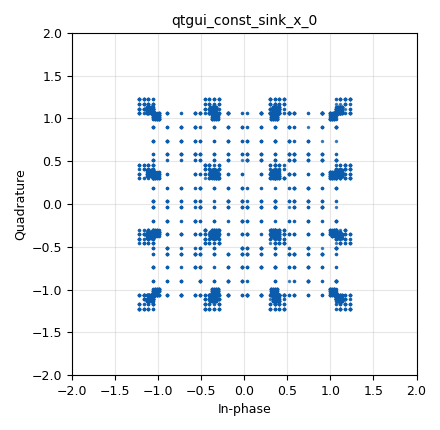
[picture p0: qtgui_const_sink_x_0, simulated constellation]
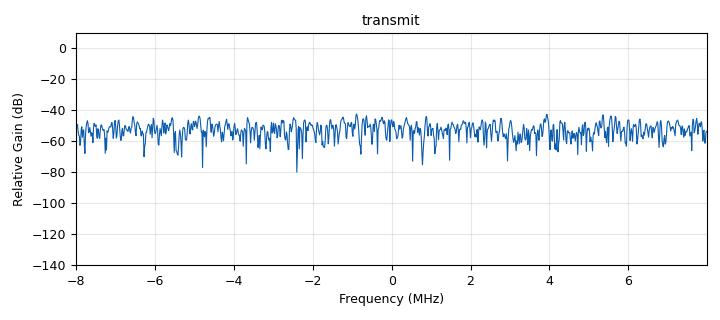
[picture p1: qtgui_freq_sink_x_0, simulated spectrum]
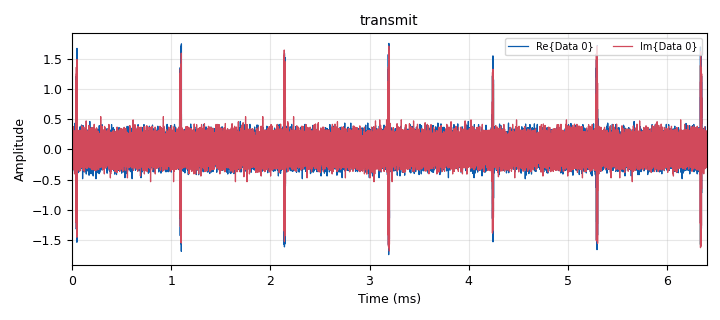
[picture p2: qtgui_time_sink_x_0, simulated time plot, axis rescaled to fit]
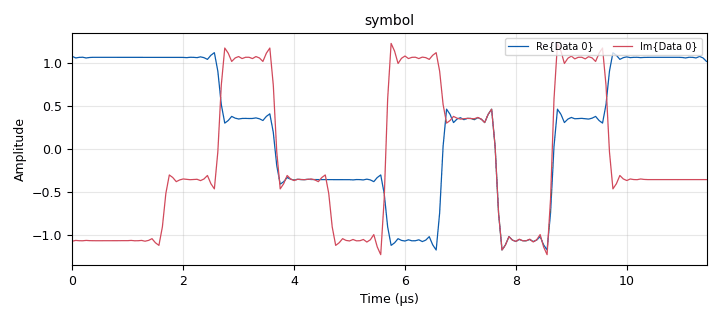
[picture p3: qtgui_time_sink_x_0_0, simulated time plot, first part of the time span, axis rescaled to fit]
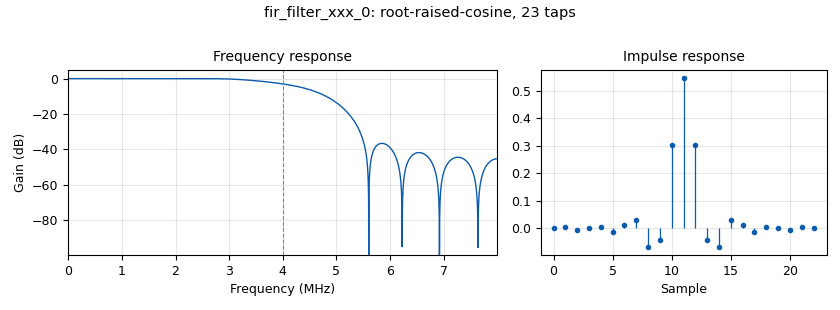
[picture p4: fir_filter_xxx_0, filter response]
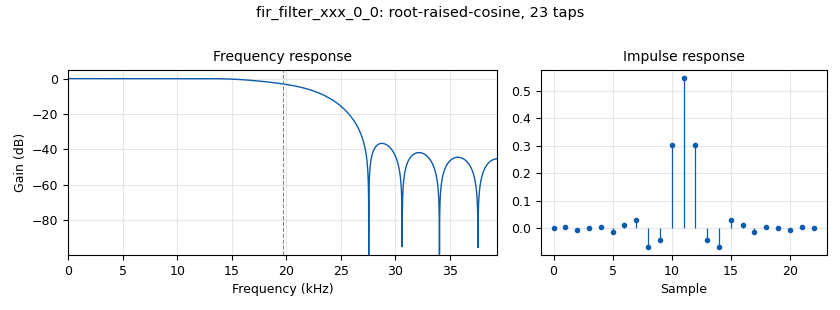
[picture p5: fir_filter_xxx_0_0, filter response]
options:
  parameters:
    author: zhouzinan
    generate_options: qt_gui
    id: mod_pulse_qpsk
    output_language: python
    title: mod_pulse_qpsk
  states: {}

blocks:
- name: RRC
  id: variable_rrc_filter_taps
  parameters:
    alpha: '0.35'
    gain: '1.0'
    ntaps: 11*sps
    samp_rate: samp_rate
    sym_rate: samp_rate/sps
  states: {}
- name: RRC_0
  id: variable_rrc_filter_taps
  parameters:
    alpha: '0.35'
    gain: '1.0'
    ntaps: 11*sps
    samp_rate: 1/pw
    sym_rate: 1/pw/2
  states: {}
- name: SNR
  id: variable_qtgui_range
  parameters:
    gui_hint: 0,0
    start: '-5'
    step: '1'
    stop: '15'
    value: '15'
  states: {}
- name: carrier_freq
  id: variable
  parameters:
    value: 1e6
  states: {}
- name: device
  id: variable
  parameters:
    value: '"device_5"'
  states: {}
- name: excess_bw
  id: variable
  parameters:
    value: '350e-3'
  states: {}
- name: gain_range
  id: variable_qtgui_range
  parameters:
    gui_hint: 4,0
    start: '0'
    step: '10'
    stop: '50'
    value: '40'
  states: {}
- name: mod_freq
  id: variable
  parameters:
    value: 10e3
  states: {}
- name: noise_power
  id: variable
  parameters:
    value: signal_power/pow(10, SNR/10)
  states: {}
- name: phase_symbol_width
  id: variable
  parameters:
    value: '1e-6'
  states: {}
- name: pri
  id: variable_qtgui_range
  parameters:
    gui_hint: 1,0
    start: '0'
    step: '10e-6'
    stop: '2100e-6'
    value: '1050e-6'
  states: {}
- name: pw
  id: variable_qtgui_range
  parameters:
    gui_hint: 2,0
    start: '0'
    step: '1e-6'
    stop: '25.4e-6'
    value: '12.7e-6'
  states: {}
- name: qam
  id: variable_constellation
  parameters:
    precision: '8'
    type: 16qam
  states: {}
- name: rcc_taps
  id: variable
  parameters:
    value: firdes.root_raised_cosine(1.0, samp_rate, samp_rate/sps, excess_bw, 11*sps)
  states: {}
- name: rf_freq
  id: variable
  parameters:
    value: 330e6
  states: {}
- name: samp_rate
  id: variable
  parameters:
    value: 16e6
  states: {}
- name: signal_power
  id: variable
  parameters:
    value: '0.5'
  states: {}
- name: sps
  id: variable
  parameters:
    value: '2'
  states: {}
- name: sps_0
  id: variable
  parameters:
    value: '2'
  states: {}
- name: analog_agc_xx_0
  id: analog_agc_xx
  parameters:
    gain: '1.0'
    max_gain: '65536'
    rate: '1e-4'
    reference: '1.0'
    type: complex
  states: {}
- name: analog_random_uniform_source_x_0
  id: analog_random_uniform_source_x
  parameters:
    maximum: '2'
    minimum: '0'
    seed: '0'
    type: byte
  states: {}
- name: analog_random_uniform_source_x_0_0
  id: analog_random_uniform_source_x
  parameters:
    maximum: '2'
    minimum: '0'
    seed: '1'
    type: byte
  states: {}
- name: analog_random_uniform_source_x_0_0_0
  id: analog_random_uniform_source_x
  parameters:
    maximum: '2'
    minimum: '0'
    seed: '2'
    type: byte
  states: {}
- name: analog_random_uniform_source_x_0_0_0_0
  id: analog_random_uniform_source_x
  parameters:
    maximum: '2'
    minimum: '0'
    seed: '3'
    type: byte
  states: {}
- name: analog_sig_source_x_0
  id: analog_sig_source_x
  parameters:
    amp: '1'
    freq: 1000e3
    offset: '0'
    phase: '0'
    samp_rate: samp_rate
    type: complex
    waveform: analog.GR_COS_WAVE
  states: {}
- name: blocks_add_const_vxx_0_0
  id: blocks_add_const_vxx
  parameters:
    const: '-np.sqrt(2)/2+np.sqrt(2)/2j'
    type: complex
  states: {}
- name: blocks_add_const_vxx_0_0_0
  id: blocks_add_const_vxx
  parameters:
    const: '-np.sqrt(2)/4+np.sqrt(2)/4j'
    type: complex
  states: {}
- name: blocks_add_xx_0
  id: blocks_add_xx
  parameters:
    type: complex
  states: {}
- name: blocks_char_to_float_0_0
  id: blocks_char_to_float
  parameters:
    scale: np.sqrt(2)/2
  states: {}
- name: blocks_char_to_float_0_0_0
  id: blocks_char_to_float
  parameters:
    scale: np.sqrt(2)/2
  states: {}
- name: blocks_char_to_float_0_0_0_0
  id: blocks_char_to_float
  parameters:
    scale: np.sqrt(2)
  states: {}
- name: blocks_char_to_float_0_0_1
  id: blocks_char_to_float
  parameters:
    scale: np.sqrt(2)
  states: {}
- name: blocks_complex_to_float_0
  id: blocks_complex_to_float
  parameters: {}
  states: {}
- name: blocks_file_sink_0
  id: blocks_file_sink
  parameters:
    file: '"D:/GNUradio/data/20230801/{}_16qam".format(device)'
    type: complex
  states: {}
- name: blocks_float_to_complex_0
  id: blocks_float_to_complex
  parameters: {}
  states: {}
- name: blocks_float_to_complex_0_0
  id: blocks_float_to_complex
  parameters: {}
  states: {}
- name: blocks_float_to_complex_0_0_0
  id: blocks_float_to_complex
  parameters: {}
  states: {}
- name: blocks_head_0
  id: blocks_head
  parameters:
    num_items: int(samp_rate)
    type: complex
  states: {}
- name: blocks_multiply_const_vxx_0
  id: blocks_multiply_const_vxx
  parameters:
    const: 1/2
    type: complex
  states: {}
- name: blocks_multiply_xx_0
  id: blocks_multiply_xx
  parameters:
    type: complex
  states: {}
- name: blocks_multiply_xx_1
  id: blocks_multiply_xx
  parameters:
    type: float
  states: {}
- name: blocks_multiply_xx_1_0
  id: blocks_multiply_xx
  parameters:
    type: float
  states: {}
- name: blocks_repeat_0
  id: blocks_repeat
  parameters:
    interp: int(samp_rate*phase_symbol_width)
    type: byte
  states: {}
- name: blocks_repeat_0_0
  id: blocks_repeat
  parameters:
    interp: int(samp_rate*phase_symbol_width)
    type: byte
  states: {}
- name: blocks_repeat_0_0_0
  id: blocks_repeat
  parameters:
    interp: int(samp_rate*phase_symbol_width)
    type: byte
  states: {}
- name: blocks_repeat_0_1
  id: blocks_repeat
  parameters:
    interp: int(samp_rate*phase_symbol_width)
    type: byte
  states: {}
- name: blocks_skiphead_0
  id: blocks_skiphead
  parameters:
    num_items: int(samp_rate)
    type: complex
  states: {}
- name: blocks_vector_source_x_0_0
  id: blocks_vector_source_x
  parameters:
    repeat: 'True'
    type: float
    vector: np.hstack((np.ones(int(pw*samp_rate)), np.zeros(int((pri-pw)*samp_rate))))
  states: {}
- name: channels_channel_model_0
  id: channels_channel_model
  parameters:
    epsilon: '1.0'
    freq_offset: '0.0'
    noise_voltage: pow(noise_power*2, 1/2)
    seed: '0'
    taps: '1'
  states: {}
- name: device_0
  id: parameter
  parameters:
    value: '"232057"'
  states: {}
- name: device_1
  id: parameter
  parameters:
    value: '"8243c3"'
  states: {}
- name: device_2
  id: parameter
  parameters:
    value: '"90a7c7"'
  states: {}
- name: device_3
  id: parameter
  parameters:
    value: '"4a0a4f"'
  states: {}
- name: device_4
  id: parameter
  parameters:
    value: '"24644f"'
  states: {}
- name: device_5
  id: parameter
  parameters:
    value: '"6f2e4f"'
  states: {}
- name: device_6
  id: parameter
  parameters:
    value: '"53454f"'
  states: {}
- name: fir_filter_xxx_0
  id: fir_filter_xxx
  parameters:
    decim: '1'
    taps: RRC
    type: ccc
  states: {}
- name: fir_filter_xxx_0_0
  id: fir_filter_xxx
  parameters:
    decim: '1'
    taps: RRC_0
    type: fff
  states: {}
- name: import_0
  id: import
  parameters:
    imports: import numpy as np
  states: {}
- name: osmosdr_sink_0
  id: osmosdr_sink
  parameters:
    args: '"hackrf={}".format(eval(device))'
    bb_gain0: '20'
    freq0: rf_freq
    gain0: '11'
    if_gain0: '47'
    sample_rate: samp_rate
    sync: sync
    type: fc32
  states: {}
- name: qtgui_const_sink_x_0
  id: qtgui_const_sink_x
  parameters:
    size: '10240'
    type: complex
  states: {}
- name: qtgui_freq_sink_x_0
  id: qtgui_freq_sink_x
  parameters:
    bw: samp_rate
    fc: '0'
    fftsize: '1024'
    name: '"transmit"'
    type: complex
  states: {}
- name: qtgui_freq_sink_x_1
  id: qtgui_freq_sink_x
  parameters:
    bw: samp_rate
    fc: '0'
    fftsize: 1024*4
    name: '"receive"'
    type: complex
  states: {}
- name: qtgui_time_sink_x_0
  id: qtgui_time_sink_x
  parameters:
    name: '"transmit"'
    size: '102400'
    srate: samp_rate
    type: complex
  states: {}
- name: qtgui_time_sink_x_0_0
  id: qtgui_time_sink_x
  parameters:
    name: '"symbol"'
    size: '10240'
    srate: samp_rate
    type: complex
  states: {}
- name: qtgui_time_sink_x_1
  id: qtgui_time_sink_x
  parameters:
    name: '"receive"'
    size: '10240'
    srate: samp_rate
    type: complex
  states: {}
- name: qtgui_waterfall_sink_x_0
  id: qtgui_waterfall_sink_x
  parameters:
    bw: samp_rate
    fc: '0'
    fftsize: '1024'
    name: '"receive"'
    type: complex
  states: {}
- name: uhd_usrp_source_0
  id: uhd_usrp_source
  parameters:
    ant0: TX/RX
    center_freq0: rf_freq
    dev_args: '""'
    gain0: gain_range
    samp_rate: samp_rate
    sync: sync
    type: fc32
  states: {}

connections:
- [analog_agc_xx_0, '0', blocks_multiply_const_vxx_0, '0']
- [analog_random_uniform_source_x_0, '0', blocks_repeat_0_0, '0']
- [analog_random_uniform_source_x_0_0, '0', blocks_repeat_0, '0']
- [analog_random_uniform_source_x_0_0_0, '0', blocks_repeat_0_0_0, '0']
- [analog_random_uniform_source_x_0_0_0_0, '0', blocks_repeat_0_1, '0']
- [analog_sig_source_x_0, '0', blocks_multiply_xx_0, '1']
- [blocks_add_const_vxx_0_0, '0', blocks_add_xx_0, '0']
- [blocks_add_const_vxx_0_0_0, '0', blocks_add_xx_0, '1']
- [blocks_add_xx_0, '0', fir_filter_xxx_0, '0']
- [blocks_char_to_float_0_0, '0', blocks_float_to_complex_0_0, '0']
- [blocks_char_to_float_0_0_0, '0', blocks_float_to_complex_0_0, '1']
- [blocks_char_to_float_0_0_0_0, '0', blocks_float_to_complex_0_0_0, '1']
- [blocks_char_to_float_0_0_1, '0', blocks_float_to_complex_0_0_0, '0']
- [blocks_complex_to_float_0, '0', blocks_multiply_xx_1, '0']
- [blocks_complex_to_float_0, '1', blocks_multiply_xx_1_0, '0']
- [blocks_float_to_complex_0, '0', channels_channel_model_0, '0']
- [blocks_float_to_complex_0_0, '0', blocks_add_const_vxx_0_0, '0']
- [blocks_float_to_complex_0_0_0, '0', blocks_add_const_vxx_0_0_0, '0']
- [blocks_head_0, '0', blocks_file_sink_0, '0']
- [blocks_multiply_const_vxx_0, '0', blocks_skiphead_0, '0']
- [blocks_multiply_const_vxx_0, '0', qtgui_freq_sink_x_1, '0']
- [blocks_multiply_const_vxx_0, '0', qtgui_time_sink_x_1, '0']
- [blocks_multiply_const_vxx_0, '0', qtgui_waterfall_sink_x_0, '0']
- [blocks_multiply_xx_0, '0', blocks_complex_to_float_0, '0']
- [blocks_multiply_xx_1, '0', blocks_float_to_complex_0, '0']
- [blocks_multiply_xx_1_0, '0', blocks_float_to_complex_0, '1']
- [blocks_repeat_0, '0', blocks_char_to_float_0_0_0, '0']
- [blocks_repeat_0_0, '0', blocks_char_to_float_0_0, '0']
- [blocks_repeat_0_0_0, '0', blocks_char_to_float_0_0_1, '0']
- [blocks_repeat_0_1, '0', blocks_char_to_float_0_0_0_0, '0']
- [blocks_skiphead_0, '0', blocks_head_0, '0']
- [blocks_vector_source_x_0_0, '0', fir_filter_xxx_0_0, '0']
- [channels_channel_model_0, '0', osmosdr_sink_0, '0']
- [channels_channel_model_0, '0', qtgui_freq_sink_x_0, '0']
- [channels_channel_model_0, '0', qtgui_time_sink_x_0, '0']
- [fir_filter_xxx_0, '0', blocks_multiply_xx_0, '0']
- [fir_filter_xxx_0, '0', qtgui_const_sink_x_0, '0']
- [fir_filter_xxx_0, '0', qtgui_time_sink_x_0_0, '0']
- [fir_filter_xxx_0_0, '0', blocks_multiply_xx_1, '1']
- [fir_filter_xxx_0_0, '0', blocks_multiply_xx_1_0, '1']
- [uhd_usrp_source_0, '0', analog_agc_xx_0, '0']

metadata:
  file_format: 1
  grc_version: 3.10.6.0
